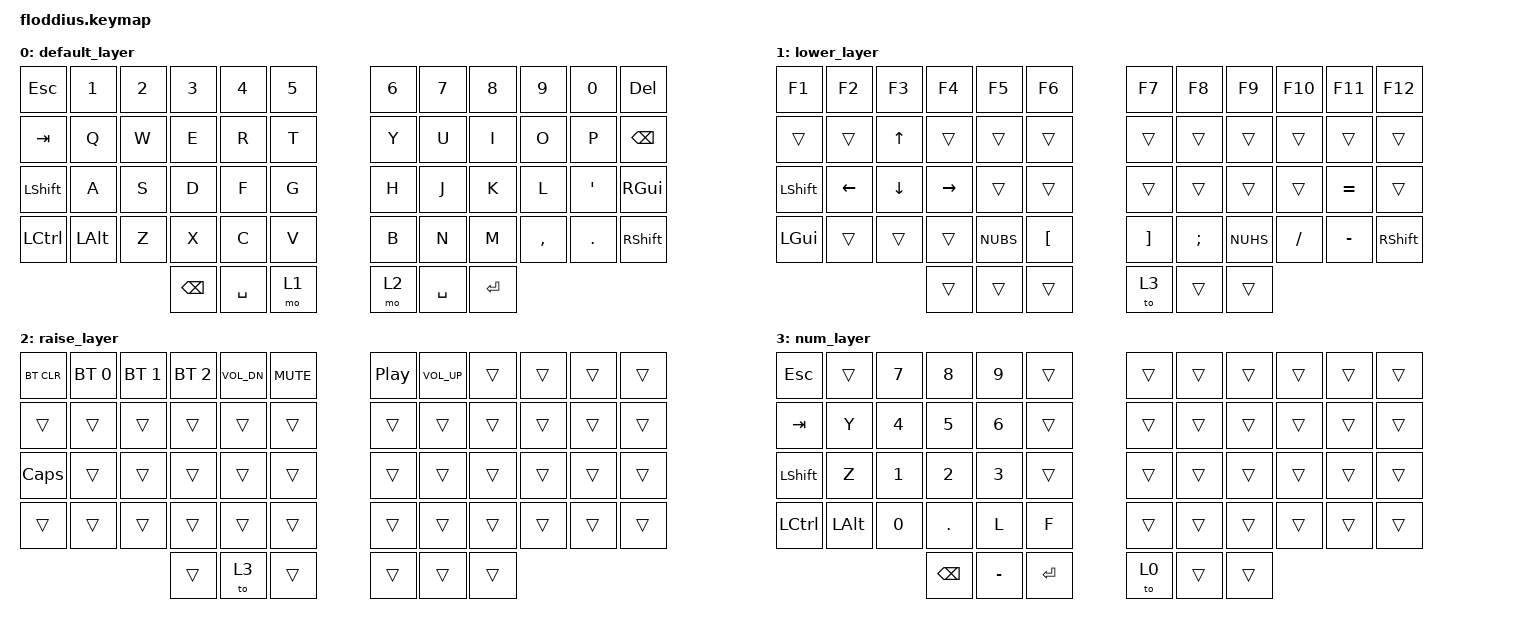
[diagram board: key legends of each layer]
#include <behaviors.dtsi>
#include <dt-bindings/zmk/keys.h>
#include <dt-bindings/zmk/bt.h>

#define DEFAULT 0
#define LOWER 1
#define RAISE 2
#define NUM 3

/ {
        keymap {
                compatible = "zmk,keymap";

                default_layer {
// -----------------------------------------------------------------------------------------
// |  ESC |  1  |  2  |  3  |  4  |  5  |   |  6  |  7   |  8  |  9  |  0  |  DEL |
// |  TAB |  Q  |  W  |  E  |  R  |  T  |   |  Y  |  U   |  I  |  O  |  P  | BSPC |
// | SHFT |  A  |  S  |  D  |  F  |  G  |   |  H  |  J   |  K  |  L  |  '  | RGUI |
// | CTRL | LALT|  Z  |  X  |  C  |  V  |   |  B  |  N   |  M  |  ,  |  .  | RSHFT|
//                    | BSPC| SPC | MO1 |   | MO2 | SPC  | ENT |
                        bindings = <
   &kp ESC     &kp N1   &kp N2   &kp N3    &kp N4  &kp N5         &kp N6   &kp N7  &kp N8     &kp N9     &kp N0    &kp DEL
   &kp TAB     &kp Q    &kp W    &kp E     &kp R   &kp T          &kp Y    &kp U   &kp I      &kp O      &kp P     &kp BSPC
   &kp LSHFT   &kp A    &kp S    &kp D     &kp F   &kp G          &kp H    &kp J   &kp K      &kp L      &kp APOS  &kp RGUI
   &kp LCTRL   &kp LALT &kp Z    &kp X     &kp C   &kp V          &kp B    &kp N   &kp M      &kp COMMA  &kp DOT   &kp RSHFT
                                 &kp BSPC  &kp SPC &mo 1          &mo 2    &kp SPC &kp ENTER
                        >;
                };
                lower_layer {
// -----------------------------------------------------------------------------------------
// |  F1  |  F2 |  F3 |  F4 |  F5 |  F6 |   |  F7 |  F8  |  F9 | F10 | F11 |  F12 |
// |      |     |  UP |     |     |     |   |     |      |     |     |     |      |
// | LSHFT| LEFT| DOWN| RGHT|     |     |   |     |      |     |     |  =  |      |
// | LGUI |     |     |     |  \  |  [  |   |  ]  |  ;   |  #  |  /  |  -  | RSHFT|
//                    |     |     |     |   |     |      |     |
                        bindings = <
   &kp F1      &kp F2     &kp F3     &kp F4     &kp F5    &kp F6         &kp F7    &kp F8    &kp F9     &kp F10    &kp F11    &kp F12 
   &trans      &trans     &kp UP     &trans     &trans    &trans         &trans    &trans    &trans     &trans     &trans     &trans
   &kp LSHFT   &kp LEFT   &kp DOWN   &kp RIGHT  &trans    &trans         &trans    &trans    &trans     &trans     &kp EQUAL  &trans
   &kp LGUI    &trans     &trans     &trans     &kp NUBS  &kp LBKT       &kp RBKT  &kp SEMI  &kp NUHS   &kp FSLH   &kp MINUS  &kp RSHFT
                                     &trans     &trans    &trans         &to 3     &trans    &trans
                        >;
                };

                raise_layer {
// -----------------------------------------------------------------------------------------
// | BT_CLR | BT_1 | BT_2 | BT_3 | VOL_D | MUTE |  | PLAY | VOL_U |      |      |      |       |
// |        |      |      |      |       |      |  |      |       |      |      |      |       |
// |  CAPS  |      |      |      |       |      |  |      |       |      |      |      |       |
// |        |      |      |      |       |      |  |      |       |      |      |      |       |
//                        |      |       | TO 3 |  |      |       |      |
                        bindings = <
   &bt BT_CLR  &bt BT_SEL 0  &bt BT_SEL 1  &bt BT_SEL 2  &kp C_VOL_DN  &kp C_MUTE       &kp C_PP  &kp C_VOL_UP  &trans     &trans     &trans     &trans
   &trans      &trans        &trans        &trans        &trans        &trans           &trans    &trans        &trans     &trans     &trans     &trans
   &kp CAPS    &trans        &trans        &trans        &trans        &trans           &trans    &trans        &trans     &trans     &trans     &trans
   &trans      &trans        &trans        &trans        &trans        &trans           &trans    &trans        &trans     &trans     &trans     &trans
                                           &trans        &to 3         &trans            &trans    &trans        &trans
                        >;
                };

                num_layer {
// -----------------------------------------------------------------------------------------
// |  ESC |      |   7  |   8  |   9  |      | |      |      |      |      |      |       |
// |  TAB |   Y  |   4  |   5  |   6  |      | |      |      |      |      |      |       |
// | SHFT |   Z  |   1  |   2  |   3  |      | |      |      |      |      |      |       |
// | CTRL |  ALT |   0  |  DOT |   L  |   F  | |      |      |      |      |      |       |
//                      |  BSPC|   -  |  ENT | |  MO2 |      |      |
                        bindings = <
   &kp ESC    &trans      &kp N7      &kp N8      &kp N9      &trans           &trans    &trans      &trans     &trans     &trans     &trans
   &kp TAB    &kp Y       &kp N4      &kp N5      &kp N6      &trans           &trans    &trans      &trans     &trans     &trans     &trans
   &kp LSHFT  &kp Z       &kp N1      &kp N2      &kp N3      &trans           &trans    &trans      &trans     &trans     &trans     &trans
   &kp LCTRL  &kp LALT    &kp N0      &kp DOT     &kp L       &kp F            &trans    &trans      &trans     &trans     &trans     &trans
                                      &kp BSPC    &kp MINUS   &kp RET          &to 0     &trans      &trans
                        >;
                };
        };
};
